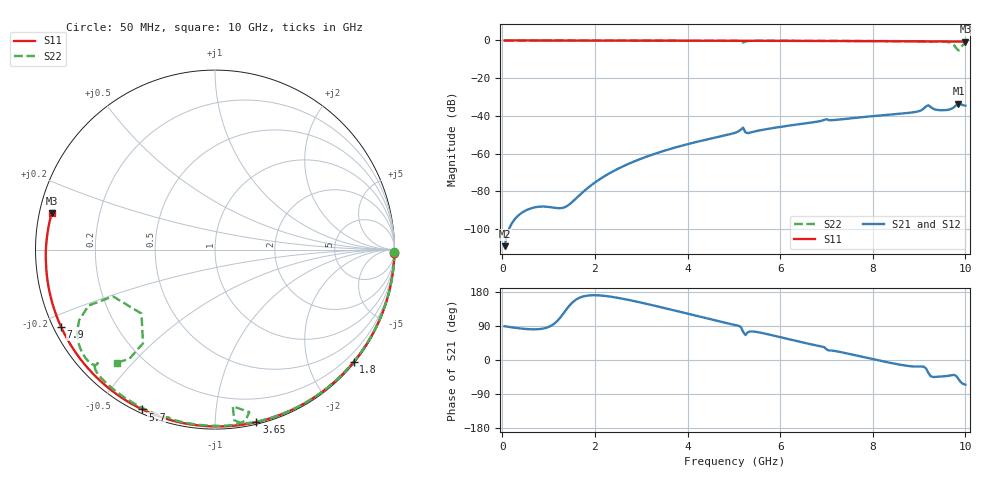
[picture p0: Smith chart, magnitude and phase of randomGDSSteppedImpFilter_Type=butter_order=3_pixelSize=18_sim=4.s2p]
! freq	dB(S11)	phase(S11)	dB(S12)	phase(S12)
!  dB(S21)	phase(S21)	dB(S22)	phase(S22)
!S-par simulation data
#  GHz  S  DB  R 50
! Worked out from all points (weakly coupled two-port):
!   200 points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, 50 MHz to 10 GHz, reference 50 ohm
!   highest |S21| = -33.58 dB at 9.85 GHz (marker M1); lowest = -109.0 dB at 50 MHz (marker M2)
!   lowest |S11| = -0.6 dB at 10 GHz (marker M3), VSWR 28.78, Z = 1.76 + j5.49 ohm
!   |S11| at or under -10 dB: nowhere
!   |S22| runs from -5.3 to 0.0 dB; largest |S21 - S12| = 0
!   S11 on the Smith chart (normalised r, x): 50 MHz: open; 1.8 GHz: 0.03, -2.82; 3.65 GHz: 0.02, -1.27; 5.7 GHz: 0.02, -0.64; 7.9 GHz: 0.02, -0.24; 10 GHz: 0.04, +0.11
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0.05  -0.00 -1.1  -109.01 89.0  -109.01 89.0  -0.00 -0.8
1.75  -0.05 -38.0  -80.17 167.8  -80.17 167.8  -0.04 -28.8
1.8  -0.05 -39.0  -79.11 169.2  -79.11 169.2  -0.04 -29.6
2.45  -0.07 -52.6  -68.59 165.0  -68.59 165.0  -0.05 -40.0
3.4  -0.09 -71.6  -59.20 140.1  -59.20 140.1  -0.07 -54.8
3.65  -0.10 -76.5  -57.32 132.7  -57.32 132.7  -0.08 -58.6
5.05  -0.16 -102.8  -48.72 91.7  -48.72 91.7  -0.17 -80.5
5.2  -0.16 -105.5  -46.20 74.6  -46.20 74.6  -1.13 -83.5
5.3  -0.17 -107.3  -49.13 73.1  -49.13 73.1  -0.29 -79.9
5.7  -0.19 -114.5  -47.01 68.9  -47.01 68.9  -0.15 -87.5
6.7  -0.26 -132.1  -43.40 40.5  -43.40 40.5  -0.20 -101.6
7.9  -0.36 -153.2  -40.33 4.9  -40.33 4.9  -0.28 -117.7
8.35  -0.40 -161.2  -39.33 -6.8  -39.33 -6.8  -0.32 -123.9
8.95  -0.47 -172.2  -37.76 -17.5  -37.76 -17.5  -0.43 -133.1
9.2  -0.50 -176.9  -34.38 -34.0  -34.38 -34.0  -0.83 -135.8
9.35  -0.52 -179.8  -36.60 -44.8  -36.60 -44.8  -0.53 -138.3
9.65  -0.56 174.4  -36.62 -41.3  -36.62 -41.3  -0.98 -149.3
9.75  -0.57 172.5  -35.47 -39.2  -35.47 -39.2  -2.27 -156.1
9.8  -0.58 171.5  -34.35 -41.8  -34.35 -41.8  -4.08 -155.4
9.85  -0.58 170.5  -33.58 -50.1  -33.58 -50.1  -5.31 -139.0
9.9  -0.59 169.5  -33.77 -58.5  -33.77 -58.5  -3.63 -127.5
10  -0.60 167.5  -34.54 -65.0  -34.54 -65.0  -1.58 -130.8
